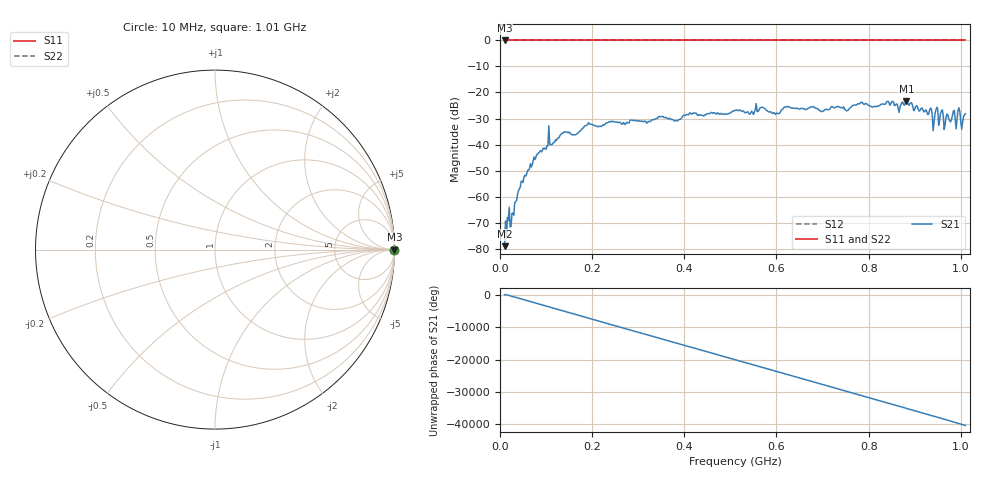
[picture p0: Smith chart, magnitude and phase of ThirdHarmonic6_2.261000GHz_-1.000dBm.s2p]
! 8/17/2025 2:47:35 AM
! C:\ANRITSUVNA\TEMP\TEMP.S2P
! CHANNEL.1
! TR.MEASUREMENT
! RAW.DATA
! RF.CORRECTION.OFF
! AVERAGING.OFF
! IF.BANDWIDTH: 5KHZ
! SWEEPTYPE:  FREQ.SWEEP(Linear)
! Reference Plane Port Info
! PORT:  PORT1  PORT2
! DISTANCE:  0  m  0  m
! TIME:  0  s  0  s
! PHASE.OFFSET:  0  deg.  0  deg.
! LOSS:  0  dB  0  dB
! REF.LOSS:  0  dB  0  dB
! REF.FREQ:  0  Hz  0  Hz
! Power Info
! POWER:  -20  dBm  -20  dBm
! EFF.POWER:  -20  dBm  -20  dBm
! SOURCE.ATTEN:  0  dB  0  dB
! TEST.ATTEN:  0  dB  0  dB
# GHZ S RI R 50.0
! FREQ.GHZ  S11RE  S11IM  S21RE  S21IM  S12RE  S12IM  S22RE  S22IM
!; PortSelection: Port_12
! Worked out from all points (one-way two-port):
!   501 points, 10 MHz to 1.01 GHz, reference 50 ohm
!   highest |S21| = -23.31 dB at 882 MHz (marker M1); lowest = -79.1 dB at 10 MHz (marker M2)
!   lowest |S11| = 0.0 dB at 10 MHz (marker M3)
!   |S11| at or under -10 dB: nowhere
!   |S22| runs from 0.0 to 0.0 dB; largest |S21 - S12| = 1.1
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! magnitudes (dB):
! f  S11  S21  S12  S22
! 10 MHz  0.0  -79.1  0.0  0.0
! 16 MHz  0.0  -68.1  0.0  0.0
! 26 MHz  0.0  -66.5  0.0  0.0
! 44 MHz  0.0  -56.3  0.0  0.0
! 78 MHz  0.0  -44.8  0.0  0.0
! 136 MHz  0.0  -35.7  0.0  0.0
! 178 MHz  0.0  -33.9  0.0  0.0
! 344 MHz  0.0  -29.3  0.0  0.0
! 510 MHz  0.0  -26.9  0.0  0.0
! 602 MHz  0.0  -27.9  0.0  0.0
! 620 MHz  0.0  -25.6  0.0  0.0
! 678 MHz  0.0  -25.5  0.0  0.0
! 752 MHz  0.0  -27.0  0.0  0.0
! 844 MHz  0.0  -23.9  0.0  0.0
! 882 MHz  0.0  -23.3  0.0  0.0
! 934 MHz  0.0  -26.0  0.0  0.0
! 942 MHz  0.0  -31.6  0.0  0.0
! 946 MHz  0.0  -26.8  0.0  0.0
! 966 MHz  0.0  -32.4  0.0  0.0
! 996 MHz  0.0  -25.9  0.0  0.0
! 1.004 GHz  0.0  -31.4  0.0  0.0
! 1.01 GHz  0.0  -28.2  0.0  0.0
